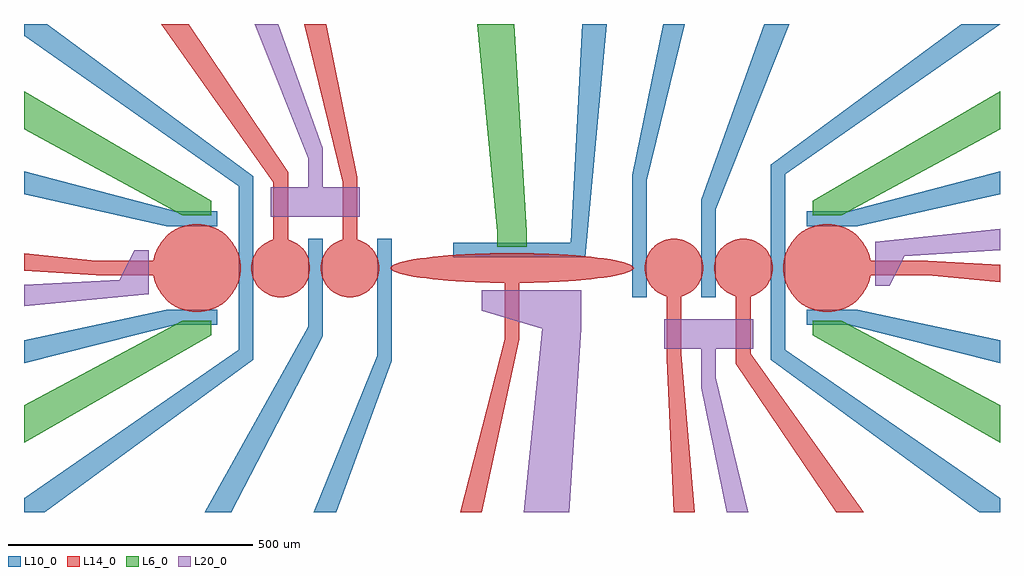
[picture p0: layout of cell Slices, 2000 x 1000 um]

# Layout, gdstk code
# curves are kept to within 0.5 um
import gdstk
lib = gdstk.Library(unit=1e-6, precision=1e-09)
def P(c, l, *ps):  # polygons
    for p in ps: c.add(gdstk.Polygon(p, *l))
L6_0 = (6, 0)
L10_0 = (10, 0)
L14_0 = (14, 0)
L20_0 = (20, 0)

slices = lib.new_cell('Slices')
P(slices, L6_0, [(30,74),(4.623,500),(-71.365,500),(-30,74),(-30,44),(30,44)],
  [(1000,284.399),(1000,361.827),(616,138),(616,108),(676,108)],
  [(-616,138),(-1000,361.827),(-1000,284.399),(-676,108),(-616,108)],
  [(-616,-138),(-616,-108),(-676,-108),(-1000,-281.202),(-1000,-358.047)],
  [(1000,-281.202),(676,-108),(616,-108),(616,-138),(1000,-358.047)])
P(slices, L10_0, [(418,120),(568.328,500),(516.551,500),(388,140),(388,-60),(418,-60)],
  [(276,180),(354.383,500),(309.903,500),(246,190),(246,-60),(276,-60)],
  [(194.033,500),(143.983,500),(120,52),(-120,52),(-120,22),(150,22)],
  [(-530,-188),(-530,188),(-952.13,500),(-1000,500),(-1000,475.964),(-560,168),(-560,-168),(-1000,-471.643),(-1000,-500),(-957.806,-500)],
  [(1000,-471.643),(560,-168),(560,192),(1000,499.532),(1000,500),(920.176,500),(530,212),(530,-188),(957.806,-500),(1000,-500)],
  [(1000,151.139),(1000,197.991),(688,116),(604,116),(604,86),(708,86)],
  [(-604,116),(-688,116),(-1000,197.991),(-1000,151.139),(-708,86),(-604,86)],
  [(-246,-190),(-246,60),(-276,60),(-276,-180),(-405.969,-500),(-359.78,-500)],
  [(-388,-140),(-388,60),(-418,60),(-418,-120),(-629.993,-500),(-574.883,-500)],
  [(1000,-148.254),(708,-86),(604,-86),(604,-116),(688,-116),(1000,-194.911)],
  [(-688,-116),(-604,-116),(-604,-86),(-708,-86),(-1000,-148.254),(-1000,-194.911)])
P(slices, L14_0, [(-466,-59),(-462,-59),(-461,-58),(-457,-58),(-456,-57),(-454,-57),(-440,-50),(-440,-49),(-436,-47),(-435,-45),(-434,-45),(-432,-43),(-432,-42),(-431,-42),(-429,-40),(-429,-39),(-427,-38),(-425,-34),(-424,-34),(-417,-20),(-417,-18),(-416,-17),(-416,-13),(-415,-12),(-415,-8),(-414,-7),(-414,7),(-415,8),(-416,17),(-424,34),(-425,34),(-427,38),(-429,39),(-429,40),(-431,42),(-432,42),(-432,43),(-434,45),(-435,45),(-436,47),(-440,49),(-440,50),(-454,57),(-459,58),(-459,196),(-662.63,500),(-718.452,500),(-489,176),(-489,58),(-494,57),(-508,50),(-508,49),(-512,47),(-513,45),(-514,45),(-516,43),(-516,42),(-517,42),(-519,40),(-519,39),(-521,38),(-523,34),(-524,34),(-532,17),(-532,13),(-533,12),(-533,8),(-534,7),(-534,-7),(-533,-8),(-533,-12),(-532,-13),(-532,-17),(-531,-18),(-531,-20),(-524,-34),(-523,-34),(-521,-38),(-519,-39),(-519,-40),(-517,-42),(-516,-42),(-516,-43),(-514,-45),(-513,-45),(-512,-47),(-508,-49),(-508,-50),(-491,-58),(-487,-58),(-486,-59),(-482,-59),(-481,-60),(-467,-60)],
  [(-324,-59),(-320,-59),(-319,-58),(-315,-58),(-314,-57),(-312,-57),(-298,-50),(-298,-49),(-294,-47),(-293,-45),(-292,-45),(-290,-43),(-290,-42),(-289,-42),(-287,-40),(-287,-39),(-285,-38),(-283,-34),(-282,-34),(-274,-17),(-274,-13),(-273,-12),(-273,-8),(-272,-7),(-272,7),(-273,8),(-273,12),(-274,13),(-274,17),(-275,18),(-275,20),(-282,34),(-283,34),(-285,38),(-287,39),(-287,40),(-289,42),(-290,42),(-290,43),(-292,45),(-293,45),(-294,47),(-298,49),(-298,50),(-312,57),(-317,58),(-317,186),(-380.823,500),(-425.428,500),(-347,176),(-347,58),(-352,57),(-366,50),(-366,49),(-370,47),(-371,45),(-372,45),(-374,43),(-374,42),(-375,42),(-377,40),(-377,39),(-379,38),(-381,34),(-382,34),(-390,17),(-390,13),(-391,12),(-391,8),(-392,7),(-392,-7),(-391,-8),(-391,-12),(-390,-13),(-390,-17),(-389,-18),(-389,-20),(-382,-34),(-381,-34),(-379,-38),(-377,-39),(-377,-40),(-375,-42),(-374,-42),(-374,-43),(-372,-45),(-371,-45),(-370,-47),(-366,-49),(-366,-50),(-349,-58),(-345,-58),(-344,-59),(-340,-59),(-339,-60),(-325,-60)],
  [(-635,-89),(-630,-89),(-629,-88),(-621,-87),(-620,-86),(-618,-86),(-617,-85),(-615,-85),(-612,-83),(-608,-82),(-604,-79),(-602,-79),(-597,-75),(-594,-74),(-581,-63),(-572,-52),(-571,-49),(-567,-44),(-567,-42),(-564,-38),(-563,-34),(-561,-31),(-560,-26),(-559,-25),(-558,-17),(-557,-16),(-557,-11),(-556,-9),(-556,9),(-557,11),(-557,16),(-558,17),(-559,25),(-560,26),(-560,28),(-561,29),(-561,31),(-563,34),(-564,38),(-567,42),(-567,44),(-571,49),(-572,52),(-581,63),(-594,74),(-597,75),(-602,79),(-604,79),(-608,82),(-612,83),(-615,85),(-620,86),(-621,87),(-629,88),(-630,89),(-635,89),(-637,90),(-655,90),(-657,89),(-662,89),(-663,88),(-671,87),(-672,86),(-677,85),(-680,83),(-684,82),(-688,79),(-690,79),(-695,75),(-698,74),(-709,65),(-720,52),(-721,49),(-725,44),(-725,42),(-728,38),(-729,34),(-731,31),(-735,15),(-852,15),(-1000,30.733),(-1000,-5.212),(-852,-15),(-735,-15),(-731,-31),(-729,-34),(-728,-38),(-725,-42),(-725,-44),(-721,-49),(-720,-52),(-711,-63),(-698,-74),(-695,-75),(-690,-79),(-688,-79),(-684,-82),(-680,-83),(-677,-85),(-672,-86),(-671,-87),(-663,-88),(-662,-89),(-657,-89),(-655,-90),(-637,-90)],
  [(657,-89),(662,-89),(663,-88),(671,-87),(672,-86),(674,-86),(675,-85),(677,-85),(680,-83),(684,-82),(688,-79),(690,-79),(695,-75),(698,-74),(709,-65),(720,-52),(721,-49),(725,-44),(725,-42),(728,-38),(729,-34),(731,-31),(735,-15),(852,-15),(1000,-29.262),(1000,6.683),(852,15),(735,15),(731,31),(729,34),(728,38),(725,42),(725,44),(721,49),(720,52),(711,63),(698,74),(695,75),(690,79),(688,79),(684,82),(680,83),(677,85),(675,85),(671,87),(663,88),(662,89),(657,89),(655,90),(637,90),(635,89),(630,89),(629,88),(621,87),(620,86),(618,86),(617,85),(615,85),(612,83),(608,82),(604,79),(602,79),(597,75),(594,74),(581,63),(572,52),(571,49),(567,44),(567,42),(564,38),(563,34),(561,31),(561,29),(559,25),(558,17),(557,16),(557,11),(556,9),(556,-9),(557,-11),(557,-16),(558,-17),(559,-25),(560,-26),(561,-31),(563,-34),(564,-38),(567,-42),(567,-44),(571,-49),(572,-52),(581,-63),(594,-74),(597,-75),(602,-79),(604,-79),(608,-82),(612,-83),(615,-85),(620,-86),(621,-87),(629,-88),(630,-89),(635,-89),(637,-90),(655,-90)],
  [(347,-176),(347,-58),(352,-57),(366,-50),(366,-49),(370,-47),(371,-45),(372,-45),(374,-43),(374,-42),(375,-42),(377,-40),(377,-39),(379,-38),(381,-34),(382,-34),(390,-17),(390,-13),(391,-12),(391,-8),(392,-7),(392,7),(391,8),(391,12),(390,13),(390,17),(389,18),(389,20),(382,34),(381,34),(379,38),(377,39),(377,40),(375,42),(374,42),(374,43),(372,45),(371,45),(370,47),(366,49),(366,50),(352,57),(350,57),(349,58),(345,58),(344,59),(340,59),(339,60),(325,60),(324,59),(315,58),(298,50),(298,49),(294,47),(293,45),(292,45),(290,43),(290,42),(289,42),(287,40),(287,39),(285,38),(283,34),(282,34),(275,20),(275,18),(274,17),(274,13),(273,12),(273,8),(272,7),(272,-7),(273,-8),(274,-17),(282,-34),(283,-34),(285,-38),(287,-39),(287,-40),(289,-42),(290,-42),(290,-43),(292,-45),(293,-45),(294,-47),(298,-49),(298,-50),(312,-57),(317,-58),(317,-186),(331.559,-500),(374.739,-500)],
  [(489,-176),(489,-58),(494,-57),(508,-50),(508,-49),(512,-47),(513,-45),(514,-45),(516,-43),(516,-42),(517,-42),(519,-40),(519,-39),(521,-38),(523,-34),(524,-34),(531,-20),(531,-18),(532,-17),(532,-13),(533,-12),(533,-8),(534,-7),(534,7),(533,8),(533,12),(532,13),(532,17),(531,18),(531,20),(524,34),(523,34),(521,38),(519,39),(519,40),(517,42),(516,42),(516,43),(514,45),(513,45),(512,47),(508,49),(508,50),(494,57),(492,57),(491,58),(487,58),(486,59),(482,59),(481,60),(467,60),(466,59),(462,59),(461,58),(457,58),(456,57),(454,57),(440,50),(440,49),(436,47),(435,45),(434,45),(432,43),(432,42),(431,42),(429,40),(429,39),(427,38),(425,34),(424,34),(416,17),(416,13),(415,12),(415,8),(414,7),(414,-7),(415,-8),(415,-12),(416,-13),(416,-17),(417,-18),(417,-20),(424,-34),(425,-34),(427,-38),(429,-39),(429,-40),(431,-42),(432,-42),(432,-43),(434,-45),(435,-45),(436,-47),(440,-49),(440,-50),(454,-57),(459,-58),(459,-196),(664.61,-500),(720.681,-500)],
  [(15,-146),(15,-30),(75,-29),(78,-28),(97,-28),(102,-27),(131,-26),(202,-18),(229,-12),(240,-8),(247,-4),(250,0),(247,4),(240,8),(229,12),(202,18),(131,26),(102,27),(97,28),(78,28),(75,29),(47,29),(45,30),(-45,30),(-47,29),(-75,29),(-78,28),(-97,28),(-102,27),(-131,26),(-202,18),(-229,12),(-240,8),(-247,4),(-250,0),(-247,-4),(-240,-8),(-229,-12),(-202,-18),(-188,-20),(-131,-26),(-115,-27),(-102,-27),(-97,-28),(-78,-28),(-75,-29),(-47,-29),(-45,-30),(-15,-30),(-15,-146),(-106.169,-500),(-62.286,-500)])
P(slices, L20_0, [(-312,165),(-388,165),(-388,245),(-479.441,500),(-527.249,500),(-418,225),(-418,165),(-494,165),(-494,105),(-312,105)],
  [(804,24),(1000,36.621),(1000,80.681),(744,54),(744,-36),(774,-36)],
  [(-744,-54),(-744,36),(-774,36),(-804,-24),(-1000,-34.676),(-1000,-78.148)],
  [(142,-124),(142,-46),(-62,-46),(-62,-88),(62,-124),(23.665,-500),(117.638,-500)],
  [(418,-225),(418,-165),(494,-165),(494,-105),(312,-105),(312,-165),(388,-165),(388,-245),(439.725,-500),(484.555,-500)])

lib.write_gds('Slices.gds')
